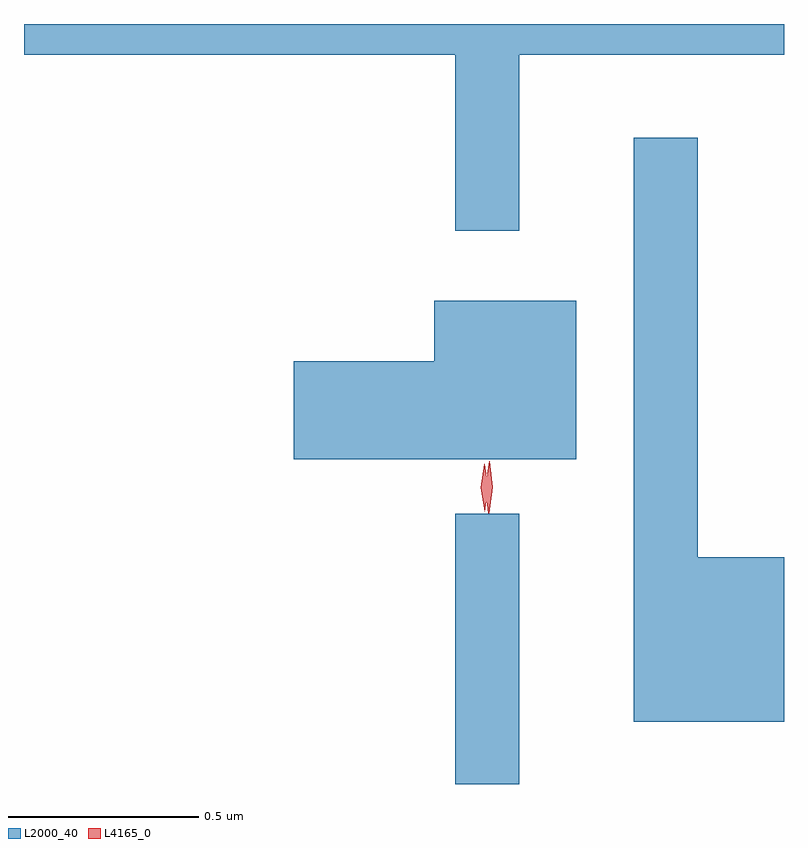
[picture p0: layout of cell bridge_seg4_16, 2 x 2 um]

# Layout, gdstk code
import gdstk
lib = gdstk.Library(unit=1e-6, precision=1e-09)
def R(c, l, rs):  # rectangles x0, y0, x1, y1
    for r in rs: c.add(gdstk.rectangle(r[:2], r[2:], *l))
def P(c, l, *ps):  # polygons
    for p in ps: c.add(gdstk.Polygon(p, *l))
L2000_40 = (2000, 40)
L4165_0 = (4165, 0)

bridge_seg4_16 = lib.new_cell('bridge_seg4_16')
R(bridge_seg4_16, L2000_40, [(1258.011,1332.777,1258.179,1333.488)])
P(bridge_seg4_16, L2000_40, [(1258.179,1334.696),(1258.876,1334.696),(1258.876,1334.777),(1256.876,1334.777),(1256.876,1334.696),(1258.011,1334.696),(1258.011,1334.233),(1258.179,1334.233)],
  [(1258.876,1333.374),(1258.649,1333.374),(1258.649,1334.478),(1258.481,1334.478),(1258.481,1332.941),(1258.876,1332.941)],
  [(1258.329,1334.049),(1257.956,1334.049),(1257.956,1333.889),(1257.586,1333.889),(1257.586,1333.631),(1258.329,1333.631)])
P(bridge_seg4_16, L4165_0, [(1258.098,1333.49),(1258.09,1333.558),(1258.1,1333.626),(1258.1,1333.626),(1258.101,1333.626),(1258.11,1333.558),(1258.1,1333.49),(1258.099,1333.49)],
  [(1258.089,1333.493),(1258.088,1333.494),(1258.078,1333.556),(1258.087,1333.619),(1258.087,1333.62),(1258.088,1333.619),(1258.098,1333.556),(1258.089,1333.494)])

lib.write_gds('bridge_seg4_16.gds')
